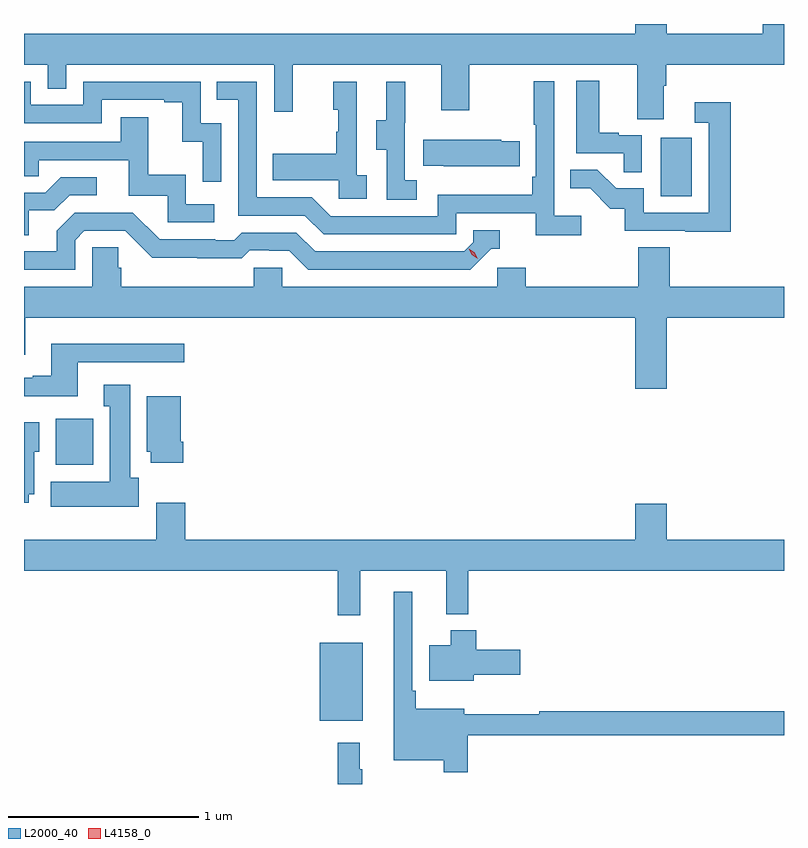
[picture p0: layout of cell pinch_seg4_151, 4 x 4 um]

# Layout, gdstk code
import gdstk
lib = gdstk.Library(unit=1e-6, precision=1e-09)
def R(c, l, rs):  # rectangles x0, y0, x1, y1
    for r in rs: c.add(gdstk.rectangle(r[:2], r[2:], *l))
def P(c, l, *ps):  # polygons
    for p in ps: c.add(gdstk.Polygon(p, *l))
L2000_40 = (2000, 40)
L4158_0 = (4158, 0)

pinch_seg4_151 = lib.new_cell('pinch_seg4_151')
R(pinch_seg4_151, L2000_40, [(1134.374,789.371,1134.601,789.781), (1132.985,790.718,1133.182,790.96), (1136.168,792.132,1136.332,792.439)])
P(pinch_seg4_151, L2000_40, [(1136.185,792.712),(1136.198,792.712),(1136.198,792.824),(1136.818,792.824),(1136.818,793.038),(1136.705,793.038),(1136.705,792.988),(1136.2,792.988),(1136.2,793.038),(1136.036,793.038),(1136.036,792.988),(1132.818,792.988),(1132.818,792.824),(1132.944,792.824),(1132.944,792.697),(1133.04,792.697),(1133.04,792.824),(1134.135,792.824),(1134.135,792.576),(1134.233,792.576),(1134.233,792.824),(1135.013,792.824),(1135.013,792.585),(1135.161,792.585),(1135.161,792.824),(1136.045,792.824),(1136.045,792.538),(1136.185,792.538)],
  [(1136.07,792.453),(1135.949,792.453),(1135.949,792.466),(1135.846,792.466),(1135.846,792.739),(1135.724,792.739),(1135.724,792.357),(1135.975,792.357),(1135.975,792.259),(1136.07,792.259)],
  [(1135.75,792.028),(1135.608,792.028),(1135.608,792.736),(1135.5,792.736),(1135.5,792.508),(1135.512,792.508),(1135.512,792.235),(1135.492,792.235),(1135.492,792.139),(1134.996,792.139),(1134.996,792.027),(1134.432,792.027),(1134.333,792.126),(1134.042,792.126),(1134.042,792.735),(1133.833,792.735),(1133.833,792.639),(1133.946,792.639),(1133.946,792.03),(1134.296,792.03),(1134.395,791.931),(1135.092,791.931),(1135.092,792.042),(1135.511,792.042),(1135.511,791.926),(1135.75,791.926)],
  [(1133.856,792.516),(1133.748,792.516),(1133.748,792.735),(1133.13,792.735),(1133.13,792.612),(1132.854,792.612),(1132.854,792.735),(1132.818,792.735),(1132.818,792.516),(1133.226,792.516),(1133.226,792.639),(1133.555,792.639),(1133.555,792.627),(1133.651,792.627),(1133.651,792.419),(1133.76,792.419),(1133.76,792.207),(1133.856,792.207)],
  [(1134.622,792.242),(1134.57,792.242),(1134.57,792.733),(1134.446,792.733),(1134.446,792.588),(1134.472,792.588),(1134.472,792.47),(1134.462,792.47),(1134.462,792.355),(1134.127,792.355),(1134.127,792.215),(1134.474,792.215),(1134.474,792.117),(1134.622,792.117)],
  [(1134.886,792.215),(1134.822,792.215),(1134.822,792.519),(1134.824,792.519),(1134.824,792.733),(1134.725,792.733),(1134.725,792.531),(1134.671,792.531),(1134.671,792.376),(1134.726,792.376),(1134.726,792.112),(1134.886,792.112)],
  [(1136.537,792.625),(1136.349,792.625),(1136.349,792.519),(1136.421,792.519),(1136.421,792.045),(1136.079,792.045),(1136.079,792.174),(1135.934,792.174),(1135.836,792.272),(1135.693,792.272),(1135.693,792.173),(1135.797,792.173),(1135.904,792.066),(1135.981,792.066),(1135.981,791.949),(1136.299,791.949),(1136.299,791.944),(1136.537,791.944)],
  [(1133.818,792.09),(1133.67,792.09),(1133.67,792.244),(1133.471,792.244),(1133.471,792.547),(1133.327,792.547),(1133.327,792.417),(1132.818,792.417),(1132.818,792.237),(1132.895,792.237),(1132.895,792.321),(1133.369,792.321),(1133.369,792.135),(1133.574,792.135),(1133.574,791.994),(1133.818,791.994)],
  [(1135.427,792.42),(1135.329,792.42),(1135.329,792.43),(1134.919,792.43),(1134.919,792.293),(1135.027,792.293),(1135.027,792.29),(1135.427,792.29)],
  [(1132.843,792.058),(1132.978,792.058),(1133.058,792.138),(1133.2,792.138),(1133.2,792.231),(1133.012,792.231),(1132.931,792.15),(1132.818,792.15),(1132.818,791.926),(1132.843,791.926)],
  [(1133.088,791.901),(1133.136,791.949),(1133.352,791.949),(1133.494,791.807),(1133.73,791.807),(1133.73,791.805),(1133.963,791.805),(1134.005,791.847),(1134.108,791.847),(1134.108,791.844),(1134.215,791.844),(1134.314,791.745),(1135.167,791.745),(1135.278,791.856),(1135.321,791.856),(1135.321,791.952),(1135.182,791.952),(1135.182,791.889),(1135.134,791.841),(1134.351,791.841),(1134.252,791.94),(1133.963,791.94),(1133.924,791.901),(1133.825,791.901),(1133.825,791.904),(1133.532,791.904),(1133.391,792.045),(1133.085,792.045),(1132.991,791.951),(1132.991,791.841),(1132.818,791.841),(1132.818,791.745),(1133.088,791.745)],
  [(1136.2,791.492),(1136.818,791.492),(1136.818,791.656),(1136.216,791.656),(1136.216,791.864),(1136.051,791.864),(1136.051,791.656),(1135.46,791.656),(1135.46,791.754),(1135.308,791.754),(1135.308,791.656),(1134.177,791.656),(1134.177,791.754),(1134.027,791.754),(1134.027,791.656),(1133.33,791.656),(1133.33,791.754),(1133.315,791.754),(1133.315,791.864),(1133.178,791.864),(1133.178,791.656),(1132.818,791.656),(1132.818,791.298),(1132.825,791.298),(1132.825,791.492),(1136.036,791.492),(1136.036,791.118),(1136.2,791.118)],
  [(1133.101,791.259),(1133.662,791.259),(1133.662,791.356),(1132.961,791.356),(1132.961,791.188),(1132.865,791.188),(1132.865,791.175),(1132.818,791.175),(1132.818,791.078),(1133.101,791.078)],
  [(1133.422,790.65),(1133.377,790.65),(1133.377,791.14),(1133.237,791.14),(1133.237,791.027),(1133.27,791.027),(1133.27,790.63),(1132.958,790.63),(1132.958,790.496),(1133.422,790.496)],
  [(1133.657,790.84),(1133.644,790.84),(1133.644,791.08),(1133.465,791.08),(1133.465,790.788),(1133.486,790.788),(1133.486,790.728),(1133.657,790.728)],
  [(1132.843,790.562),(1132.873,790.562),(1132.873,790.788),(1132.897,790.788),(1132.897,790.942),(1132.818,790.942),(1132.818,790.518),(1132.843,790.518)],
  [(1134.587,790.16),(1135.04,790.16),(1135.04,789.932),(1135.157,789.932),(1135.157,790.16),(1136.818,790.16),(1136.818,790.324),(1136.2,790.324),(1136.2,790.513),(1136.036,790.513),(1136.036,790.324),(1133.666,790.324),(1133.666,790.519),(1133.513,790.519),(1133.513,790.324),(1132.818,790.324),(1132.818,790.16),(1134.469,790.16),(1134.469,789.927),(1134.587,789.927)],
  [(1135.154,789.294),(1136.818,789.294),(1136.818,789.422),(1135.531,789.422),(1135.531,789.404),(1135.135,789.404),(1135.135,789.433),(1134.881,789.433),(1134.881,789.529),(1134.861,789.529),(1134.861,790.051),(1134.764,790.051),(1134.764,789.164),(1135.026,789.164),(1135.026,789.099),(1135.154,789.099)],
  [(1135.186,789.614),(1135.429,789.614),(1135.429,789.744),(1135.199,789.744),(1135.199,789.847),(1135.064,789.847),(1135.064,789.769),(1134.95,789.769),(1134.95,789.581),(1135.186,789.581)],
  [(1134.598,789.116),(1134.586,789.116),(1134.586,789.256),(1134.469,789.256),(1134.469,789.038),(1134.598,789.038)])
P(pinch_seg4_151, L4158_0, [(1135.205,791.803),(1135.175,791.823),(1135.158,791.855),(1135.158,791.856),(1135.159,791.856),(1135.189,791.836),(1135.206,791.803),(1135.206,791.803)])

lib.write_gds('pinch_seg4_151.gds')
